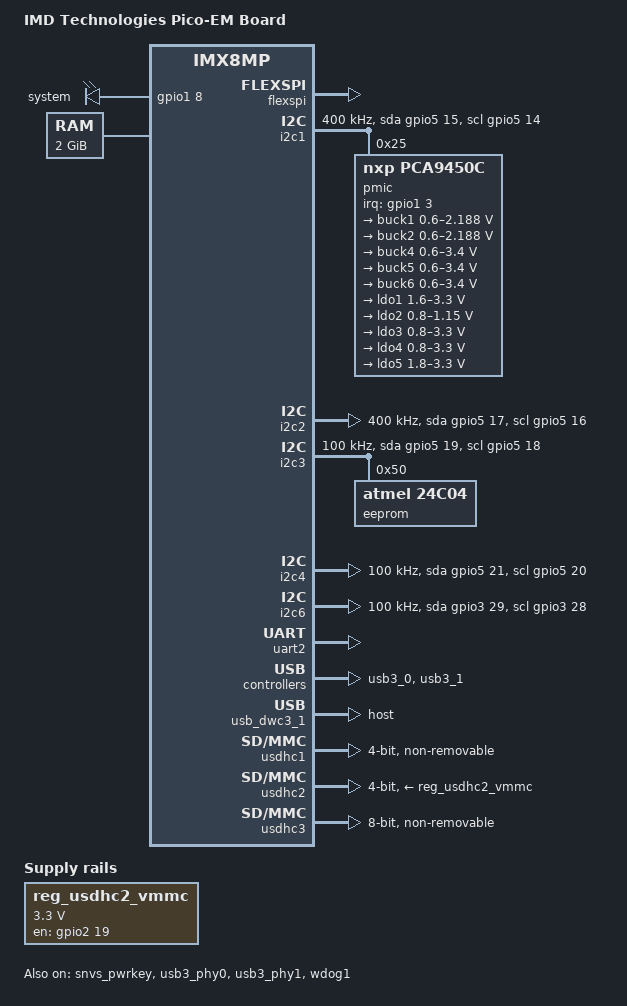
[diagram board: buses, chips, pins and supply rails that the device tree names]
// SPDX-License-Identifier: (GPL-2.0+ OR MIT)
/*
 * Copyright 2019 NXP
 * Copyright (c) 2022-2023 IMD Technologies
 */

/dts-v1/;

#include <dt-bindings/usb/pd.h>
#include "imx8mp.dtsi"

/ {
	model = "IMD Technologies Pico-EM Board";
	compatible = "imdt,imx8mp-imdt-pico-em", "fsl,imx8mp";

	chosen {
		bootargs = "console=ttymxc1,115200";
		stdout-path = &uart2;
	};

	gpio-leds {
		compatible = "gpio-leds";
		pinctrl-names = "default";
		pinctrl-0 = <&pinctrl_gpio_led>;

		system {
			label = "system";
			gpios = <&gpio1 8 GPIO_ACTIVE_HIGH>;
			default-state = "on";
		};
	};

	memory@40000000 {
		device_type = "memory";
		reg = <0x0 0x40000000 0 0x80000000>;
	};

	reg_usdhc2_vmmc: regulator-usdhc2 {
		compatible = "regulator-fixed";
		pinctrl-names = "default";
		pinctrl-0 = <&pinctrl_reg_usdhc2_vmmc>;
		regulator-name = "VSD_3V3";
		regulator-min-microvolt = <3300000>;
		regulator-max-microvolt = <3300000>;
		gpio = <&gpio2 19 GPIO_ACTIVE_HIGH>;
		enable-active-high;
	};

	dsi_host: dsi-host {
		compatible = "samsung,sec-mipi-dsi";
		status = "disabled";
	};
};

&flexspi {
	pinctrl-names = "default";
	pinctrl-0 = <&pinctrl_flexspi0>;
	status = "okay";
};

&A53_0 {
	cpu-supply = <&buck2>;
};

&A53_1 {
	cpu-supply = <&buck2>;
};

&A53_2 {
	cpu-supply = <&buck2>;
};

&A53_3 {
	cpu-supply = <&buck2>;
};

&i2c1 {
	clock-frequency = <400000>;
	pinctrl-names = "default", "gpio";
	pinctrl-0 = <&pinctrl_i2c1>;
	pinctrl-1 = <&pinctrl_i2c1_gpio>;
	scl-gpios = <&gpio5 14 GPIO_ACTIVE_HIGH>;
	sda-gpios = <&gpio5 15 GPIO_ACTIVE_HIGH>;
	status = "okay";

	pmic@25 {
		compatible = "nxp,pca9450c";
		reg = <0x25>;
		pinctrl-names = "default";
		pinctrl-0 = <&pinctrl_pmic>;
		interrupt-parent = <&gpio1>;
		interrupts = <3 IRQ_TYPE_LEVEL_LOW>;

		regulators {
			buck1: BUCK1 {
				regulator-name = "BUCK1";
				regulator-min-microvolt = <600000>;
				regulator-max-microvolt = <2187500>;
				regulator-boot-on;
				regulator-always-on;
				regulator-ramp-delay = <3125>;
			};

			buck2: BUCK2 {
				regulator-name = "BUCK2";
				regulator-min-microvolt = <600000>;
				regulator-max-microvolt = <2187500>;
				regulator-boot-on;
				regulator-always-on;
				regulator-ramp-delay = <3125>;
				nxp,dvs-run-voltage = <950000>;
				nxp,dvs-standby-voltage = <850000>;
			};

			buck4: BUCK4{
				regulator-name = "BUCK4";
				regulator-min-microvolt = <600000>;
				regulator-max-microvolt = <3400000>;
				regulator-boot-on;
				regulator-always-on;
			};

			buck5: BUCK5{
				regulator-name = "BUCK5";
				regulator-min-microvolt = <600000>;
				regulator-max-microvolt = <3400000>;
				regulator-boot-on;
				regulator-always-on;
			};

			buck6: BUCK6 {
				regulator-name = "BUCK6";
				regulator-min-microvolt = <600000>;
				regulator-max-microvolt = <3400000>;
				regulator-boot-on;
				regulator-always-on;
			};

			ldo1: LDO1 {
				regulator-name = "LDO1";
				regulator-min-microvolt = <1600000>;
				regulator-max-microvolt = <3300000>;
				regulator-boot-on;
				regulator-always-on;
			};

			ldo2: LDO2 {
				regulator-name = "LDO2";
				regulator-min-microvolt = <800000>;
				regulator-max-microvolt = <1150000>;
				regulator-boot-on;
				regulator-always-on;
			};

			ldo3: LDO3 {
				regulator-name = "LDO3";
				regulator-min-microvolt = <800000>;
				regulator-max-microvolt = <3300000>;
				regulator-boot-on;
				regulator-always-on;
			};

			ldo4: LDO4 {
				regulator-name = "LDO4";
				regulator-min-microvolt = <800000>;
				regulator-max-microvolt = <3300000>;
				regulator-boot-on;
				regulator-always-on;
			};

			ldo5: LDO5 {
				regulator-name = "LDO5";
				regulator-min-microvolt = <1800000>;
				regulator-max-microvolt = <3300000>;
				regulator-boot-on;
				regulator-always-on;
			};
		};
	};
};

&i2c2 {
	clock-frequency = <400000>;
	pinctrl-names = "default", "gpio";
	pinctrl-0 = <&pinctrl_i2c2>;
	pinctrl-1 = <&pinctrl_i2c2_gpio>;
	scl-gpios = <&gpio5 16 GPIO_ACTIVE_HIGH>;
	sda-gpios = <&gpio5 17 GPIO_ACTIVE_HIGH>;
	status = "okay";
};

&i2c3 {
	clock-frequency = <100000>;
	pinctrl-names = "default", "gpio";
	pinctrl-0 = <&pinctrl_i2c3>;
	pinctrl-1 = <&pinctrl_i2c3_gpio>;
	scl-gpios = <&gpio5 18 GPIO_ACTIVE_HIGH>;
	sda-gpios = <&gpio5 19 GPIO_ACTIVE_HIGH>;
	status = "okay";

	eeprom@50 {
		compatible = "atmel,24c04";
		reg = <0x50>;
	};
};

&i2c4 {
	clock-frequency = <100000>;
	pinctrl-names = "default", "gpio";
	pinctrl-0 = <&pinctrl_i2c4>;
	pinctrl-1 = <&pinctrl_i2c4_gpio>;
	scl-gpios = <&gpio5 20 GPIO_ACTIVE_HIGH>;
	sda-gpios = <&gpio5 21 GPIO_ACTIVE_HIGH>;
	status = "okay";
};


&i2c6 {
	clock-frequency = <100000>;
	pinctrl-names = "default", "gpio";
	pinctrl-0 = <&pinctrl_i2c6>;
	pinctrl-1 = <&pinctrl_i2c6_gpio>;
	scl-gpios = <&gpio3 28 GPIO_ACTIVE_HIGH>;
	sda-gpios = <&gpio3 29 GPIO_ACTIVE_HIGH>;
	status = "okay";
};

&lcdif1 {
	status = "disabled";
};

&mipi_dsi {
	status = "disabled";
};

&snvs_pwrkey {
	status = "okay";
};

&uart2 {
	/* console */
	pinctrl-names = "default";
	pinctrl-0 = <&pinctrl_uart2>;
	status = "okay";
};

&usb3_phy0 {
	fsl,phy-tx-vref-tune = <0xe>;
	fsl,phy-tx-preemp-amp-tune = <3>;
	fsl,phy-tx-vboost-level = <5>;
	fsl,phy-comp-dis-tune = <7>;
	fsl,pcs-tx-deemph-3p5db = <0x21>;
	fsl,phy-pcs-tx-swing-full = <0x7f>;
	status = "okay";
};

&usb3_0 {
	status = "okay";
};


&usb3_phy1 {
	fsl,phy-tx-preemp-amp-tune = <3>;
	fsl,phy-tx-vref-tune = <0xb>;
	status = "okay";
};

&usb3_1 {
	status = "okay";
};

&usb_dwc3_1 {
	pinctrl-names = "default", "gpio";
	pinctrl-0 = <&pinctrl_usb1_vbus>;
	pinctrl-1 = <&pinctrl_usb1_vbus_gpio>;
	dr_mode = "host";
	status = "okay";
};

&usdhc1 {
	pinctrl-names = "default", "state_100mhz", "state_200mhz";
	pinctrl-0 = <&pinctrl_usdhc1>;
	pinctrl-1 = <&pinctrl_usdhc1_100mhz>;
	pinctrl-2 = <&pinctrl_usdhc1_200mhz>;
	bus-width = <4>;
	non-removable;
	status = "okay";
};

&usdhc2 {
	assigned-clocks = <&clk IMX8MP_CLK_USDHC2>;
	assigned-clock-rates = <400000000>;
	pinctrl-names = "default", "state_100mhz", "state_200mhz";
	pinctrl-0 = <&pinctrl_usdhc2>;
	pinctrl-1 = <&pinctrl_usdhc2_100mhz>;
	pinctrl-2 = <&pinctrl_usdhc2_200mhz>;
	vmmc-supply = <&reg_usdhc2_vmmc>;
	bus-width = <4>;
	status = "okay";
};

&usdhc3 {
	assigned-clocks = <&clk IMX8MP_CLK_USDHC3>;
	assigned-clock-rates = <400000000>;
	pinctrl-names = "default", "state_100mhz", "state_200mhz";
	pinctrl-0 = <&pinctrl_usdhc3>;
	pinctrl-1 = <&pinctrl_usdhc3_100mhz>;
	pinctrl-2 = <&pinctrl_usdhc3_200mhz>;
	bus-width = <8>;
	non-removable;
	status = "okay";
};

&wdog1 {
	pinctrl-names = "default";
	pinctrl-0 = <&pinctrl_wdog>;
	fsl,ext-reset-output;
	status = "okay";
};

&iomuxc {
	pinctrl-names = "default";
	pinctrl-0 = <&pinctrl_hog>;

	pinctrl_hog: hoggrp {
		fsl,pins = <
			MX8MP_IOMUXC_HDMI_DDC_SCL__HDMIMIX_HDMI_SCL	0x400001c3
			MX8MP_IOMUXC_HDMI_DDC_SDA__HDMIMIX_HDMI_SDA	0x400001c3
			MX8MP_IOMUXC_HDMI_HPD__HDMIMIX_HDMI_HPD		0x40000019
			MX8MP_IOMUXC_HDMI_CEC__HDMIMIX_HDMI_CEC		0x40000019
			MX8MP_IOMUXC_GPIO1_IO00__GPIO1_IO00		0x106
			MX8MP_IOMUXC_GPIO1_IO05__GPIO1_IO05		0x106
			MX8MP_IOMUXC_SAI2_TXFS__GPIO4_IO24		0x06
		>;
	};

	pinctrl_flexspi0: flexspi0grp {
		fsl,pins = <
			MX8MP_IOMUXC_NAND_ALE__FLEXSPI_A_SCLK		0x1c2
			MX8MP_IOMUXC_NAND_CE0_B__FLEXSPI_A_SS0_B	0x82
			MX8MP_IOMUXC_NAND_DATA00__FLEXSPI_A_DATA00	0x82
			MX8MP_IOMUXC_NAND_DATA01__FLEXSPI_A_DATA01	0x82
		>;
	};

	pinctrl_gpio_led: gpioledgrp {
		fsl,pins = <
			MX8MP_IOMUXC_GPIO1_IO08__GPIO1_IO08		0x19
			MX8MP_IOMUXC_SAI5_RXD3__GPIO3_IO24		0x19
		>;
	};

	pinctrl_i2c1: i2c1grp {
		fsl,pins = <
			MX8MP_IOMUXC_I2C1_SCL__I2C1_SCL		0x400001c2
			MX8MP_IOMUXC_I2C1_SDA__I2C1_SDA		0x400001c2
		>;
	};

	pinctrl_i2c2: i2c2grp {
		fsl,pins = <
			MX8MP_IOMUXC_I2C2_SCL__I2C2_SCL		0x400001c2
			MX8MP_IOMUXC_I2C2_SDA__I2C2_SDA		0x400001c2
		>;
	};

	pinctrl_i2c3: i2c3grp {
		fsl,pins = <
			MX8MP_IOMUXC_I2C3_SCL__I2C3_SCL		0x400001c2
			MX8MP_IOMUXC_I2C3_SDA__I2C3_SDA		0x400001c2
		>;
	};

	pinctrl_i2c4: i2c4grp {
		fsl,pins = <
			MX8MP_IOMUXC_I2C4_SCL__I2C4_SCL		0x400001c2
			MX8MP_IOMUXC_I2C4_SDA__I2C4_SDA		0x400001c2
		>;
	};

	pinctrl_i2c6: i2c6grp {
		fsl,pins = <
			MX8MP_IOMUXC_SAI5_RXFS__I2C6_SCL		0x400001c2
			MX8MP_IOMUXC_SAI5_RXC__I2C6_SDA			0x400001c2
		>;
	};










	pinctrl_i2c1_gpio: i2c1gpiogrp {
		fsl,pins = <
			MX8MP_IOMUXC_I2C1_SCL__GPIO5_IO14        	0x1c3
			MX8MP_IOMUXC_I2C1_SDA__GPIO5_IO15        	0x1c3
		>;
	};

	pinctrl_i2c2_gpio: i2c2gpiogrp {
		fsl,pins = <
			MX8MP_IOMUXC_I2C2_SCL__GPIO5_IO16        	0x1c3
			MX8MP_IOMUXC_I2C2_SDA__GPIO5_IO17        	0x1c3
		>;
	};

	pinctrl_i2c3_gpio: i2c3gpiogrp {
		fsl,pins = <
			MX8MP_IOMUXC_I2C3_SCL__GPIO5_IO18        	0x1c3
			MX8MP_IOMUXC_I2C3_SDA__GPIO5_IO19        	0x1c3
		>;
	};

	pinctrl_i2c4_gpio: i2c4grp-gpio {
		fsl,pins = <
			MX8MP_IOMUXC_I2C4_SCL__GPIO5_IO20        	0x1c3
			MX8MP_IOMUXC_I2C4_SDA__GPIO5_IO21        	0x1c3
		>;
	};

	pinctrl_i2c6_gpio: i2c6grp-gpio {
		fsl,pins = <
			MX8MP_IOMUXC_HDMI_CEC__GPIO3_IO28        	0x1c3
			MX8MP_IOMUXC_HDMI_HPD__GPIO3_IO29	     	0x1c3
		>;
	};

	pinctrl_pmic: pmicirq {
		fsl,pins = <
			MX8MP_IOMUXC_GPIO1_IO03__GPIO1_IO03	0x41
		>;
	};

	pinctrl_reg_usdhc2_vmmc: regusdhc2vmmc {
		fsl,pins = <
			MX8MP_IOMUXC_SD2_RESET_B__GPIO2_IO19	0x41
		>;
	};

	pinctrl_uart2: uart2grp {
		fsl,pins = <
			MX8MP_IOMUXC_UART2_RXD__UART2_DCE_RX	0x140
			MX8MP_IOMUXC_UART2_TXD__UART2_DCE_TX	0x140
		>;
	};

	pinctrl_usb1_vbus: usb1grp {
		fsl,pins = <
			MX8MP_IOMUXC_GPIO1_IO14__USB2_PWR		0x10
		>;
	};

	pinctrl_usb1_vbus_gpio: usb1gpiogrp {
		fsl,pins = <
			MX8MP_IOMUXC_GPIO1_IO14__GPIO1_IO14		0x10
		>;
	};

	pinctrl_usdhc1: usdhc1grp {
		fsl,pins = <
			MX8MP_IOMUXC_SD1_CLK__USDHC1_CLK		0x190
			MX8MP_IOMUXC_SD1_CMD__USDHC1_CMD		0x1d0
			MX8MP_IOMUXC_SD1_DATA0__USDHC1_DATA0		0x1d0
			MX8MP_IOMUXC_SD1_DATA1__USDHC1_DATA1		0x1d0
			MX8MP_IOMUXC_SD1_DATA2__USDHC1_DATA2		0x1d0
			MX8MP_IOMUXC_SD1_DATA3__USDHC1_DATA3		0x1d0
		>;
	};

	pinctrl_usdhc1_100mhz: usdhc1-100mhzgrp {
		fsl,pins = <
			MX8MP_IOMUXC_SD1_CLK__USDHC1_CLK		0x194
			MX8MP_IOMUXC_SD1_CMD__USDHC1_CMD		0x1d4
			MX8MP_IOMUXC_SD1_DATA0__USDHC1_DATA0		0x1d4
			MX8MP_IOMUXC_SD1_DATA1__USDHC1_DATA1		0x1d4
			MX8MP_IOMUXC_SD1_DATA2__USDHC1_DATA2		0x1d4
			MX8MP_IOMUXC_SD1_DATA3__USDHC1_DATA3		0x1d4
		>;
	};

	pinctrl_usdhc1_200mhz: usdhc1-200mhzgrp {
		fsl,pins = <
			MX8MP_IOMUXC_SD1_CLK__USDHC1_CLK		0x196
			MX8MP_IOMUXC_SD1_CMD__USDHC1_CMD		0x1d6
			MX8MP_IOMUXC_SD1_DATA0__USDHC1_DATA0		0x1d6
			MX8MP_IOMUXC_SD1_DATA1__USDHC1_DATA1		0x1d6
			MX8MP_IOMUXC_SD1_DATA2__USDHC1_DATA2		0x1d6
			MX8MP_IOMUXC_SD1_DATA3__USDHC1_DATA3		0x1d6
		>;
	};

	pinctrl_usdhc2: usdhc2grp {
		fsl,pins = <
			MX8MP_IOMUXC_SD2_CLK__USDHC2_CLK	0x190
			MX8MP_IOMUXC_SD2_CMD__USDHC2_CMD	0x1d0
			MX8MP_IOMUXC_SD2_DATA0__USDHC2_DATA0	0x1d0
			MX8MP_IOMUXC_SD2_DATA1__USDHC2_DATA1	0x1d0
			MX8MP_IOMUXC_SD2_DATA2__USDHC2_DATA2	0x1d0
			MX8MP_IOMUXC_SD2_DATA3__USDHC2_DATA3	0x1d0
			MX8MP_IOMUXC_GPIO1_IO04__USDHC2_VSELECT	0xc0
		>;
	};

	pinctrl_usdhc2_100mhz: usdhc2-100mhzgrp {
		fsl,pins = <
			MX8MP_IOMUXC_SD2_CLK__USDHC2_CLK	0x194
			MX8MP_IOMUXC_SD2_CMD__USDHC2_CMD	0x1d4
			MX8MP_IOMUXC_SD2_DATA0__USDHC2_DATA0	0x1d4
			MX8MP_IOMUXC_SD2_DATA1__USDHC2_DATA1	0x1d4
			MX8MP_IOMUXC_SD2_DATA2__USDHC2_DATA2	0x1d4
			MX8MP_IOMUXC_SD2_DATA3__USDHC2_DATA3	0x1d4
			MX8MP_IOMUXC_GPIO1_IO04__USDHC2_VSELECT 0xc0
		>;
	};

	pinctrl_usdhc2_200mhz: usdhc2-200mhzgrp {
		fsl,pins = <
			MX8MP_IOMUXC_SD2_CLK__USDHC2_CLK	0x196
			MX8MP_IOMUXC_SD2_CMD__USDHC2_CMD	0x1d6
			MX8MP_IOMUXC_SD2_DATA0__USDHC2_DATA0	0x1d6
			MX8MP_IOMUXC_SD2_DATA1__USDHC2_DATA1	0x1d6
			MX8MP_IOMUXC_SD2_DATA2__USDHC2_DATA2	0x1d6
			MX8MP_IOMUXC_SD2_DATA3__USDHC2_DATA3	0x1d6
			MX8MP_IOMUXC_GPIO1_IO04__USDHC2_VSELECT 0xc0
		>;
	};

	pinctrl_usdhc3: usdhc3grp {
		fsl,pins = <
			MX8MP_IOMUXC_NAND_WE_B__USDHC3_CLK	0x190
			MX8MP_IOMUXC_NAND_WP_B__USDHC3_CMD	0x1d0
			MX8MP_IOMUXC_NAND_DATA04__USDHC3_DATA0	0x1d0
			MX8MP_IOMUXC_NAND_DATA05__USDHC3_DATA1	0x1d0
			MX8MP_IOMUXC_NAND_DATA06__USDHC3_DATA2	0x1d0
			MX8MP_IOMUXC_NAND_DATA07__USDHC3_DATA3	0x1d0
			MX8MP_IOMUXC_NAND_RE_B__USDHC3_DATA4	0x1d0
			MX8MP_IOMUXC_NAND_CE2_B__USDHC3_DATA5	0x1d0
			MX8MP_IOMUXC_NAND_CE3_B__USDHC3_DATA6	0x1d0
			MX8MP_IOMUXC_NAND_CLE__USDHC3_DATA7	0x1d0
			MX8MP_IOMUXC_NAND_CE1_B__USDHC3_STROBE	0x190
		>;
	};

	pinctrl_usdhc3_100mhz: usdhc3-100mhzgrp {
		fsl,pins = <
			MX8MP_IOMUXC_NAND_WE_B__USDHC3_CLK	0x194
			MX8MP_IOMUXC_NAND_WP_B__USDHC3_CMD	0x1d4
			MX8MP_IOMUXC_NAND_DATA04__USDHC3_DATA0	0x1d4
			MX8MP_IOMUXC_NAND_DATA05__USDHC3_DATA1	0x1d4
			MX8MP_IOMUXC_NAND_DATA06__USDHC3_DATA2	0x1d4
			MX8MP_IOMUXC_NAND_DATA07__USDHC3_DATA3	0x1d4
			MX8MP_IOMUXC_NAND_RE_B__USDHC3_DATA4	0x1d4
			MX8MP_IOMUXC_NAND_CE2_B__USDHC3_DATA5	0x1d4
			MX8MP_IOMUXC_NAND_CE3_B__USDHC3_DATA6	0x1d4
			MX8MP_IOMUXC_NAND_CLE__USDHC3_DATA7	0x1d4
			MX8MP_IOMUXC_NAND_CE1_B__USDHC3_STROBE	0x194
		>;
	};

	pinctrl_usdhc3_200mhz: usdhc3-200mhzgrp {
		fsl,pins = <
			MX8MP_IOMUXC_NAND_WE_B__USDHC3_CLK	0x196
			MX8MP_IOMUXC_NAND_WP_B__USDHC3_CMD	0x1d6
			MX8MP_IOMUXC_NAND_DATA04__USDHC3_DATA0	0x1d6
			MX8MP_IOMUXC_NAND_DATA05__USDHC3_DATA1	0x1d6
			MX8MP_IOMUXC_NAND_DATA06__USDHC3_DATA2	0x1d6
			MX8MP_IOMUXC_NAND_DATA07__USDHC3_DATA3	0x1d6
			MX8MP_IOMUXC_NAND_RE_B__USDHC3_DATA4	0x1d6
			MX8MP_IOMUXC_NAND_CE2_B__USDHC3_DATA5	0x1d6
			MX8MP_IOMUXC_NAND_CE3_B__USDHC3_DATA6	0x1d6
			MX8MP_IOMUXC_NAND_CLE__USDHC3_DATA7	0x1d6
			MX8MP_IOMUXC_NAND_CE1_B__USDHC3_STROBE	0x196
		>;
	};

	pinctrl_wdog: wdoggrp {
		fsl,pins = <
			MX8MP_IOMUXC_GPIO1_IO02__WDOG1_WDOG_B	0x166
		>;
	};
};
